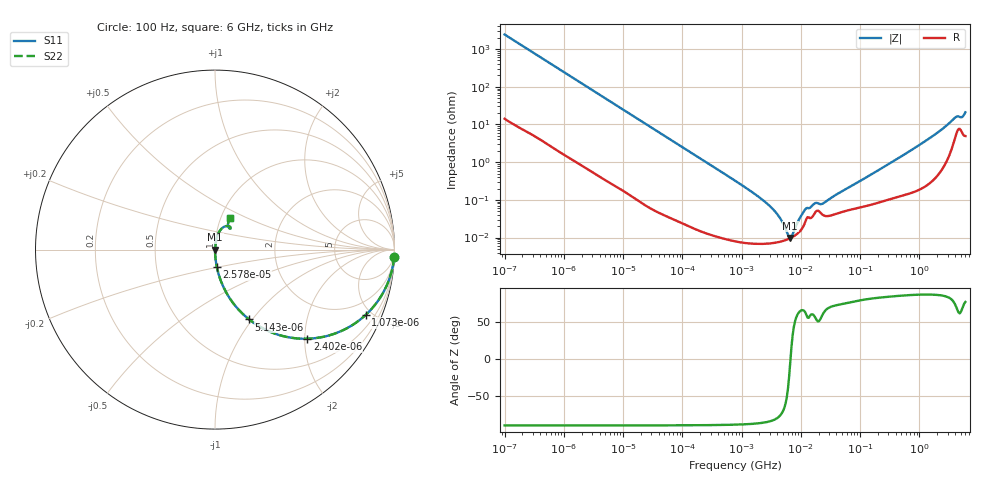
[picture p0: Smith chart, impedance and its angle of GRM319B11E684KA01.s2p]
!Murata Part Number: GRM319B11E684KA01
!These Parameters are Measured in Series Mode Connection
!Data Generated on Mar 30, 2021
!  o--ll--o
!Port1  Port2
!  o------o
!Operation Temp=25[degC], DC Bias Voltage=0[V]
!Freq. Start=100[Hz] Stop=6[GHz] 401[Steps]
# Hz S RI R 50
!Freq.(Hz) S11(Real) S11(Imag) S21(Real) S21(Imag) S12(Real) S12(Imag) S22(Real) S22(Imag)
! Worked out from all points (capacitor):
!   401 points, 100 Hz to 6 GHz, reference 50 ohm
!   read as one part in series: C = 651 nF near 109 Hz
!   lowest |Z| = 9.66 mohm at 6.644 MHz (marker M1)
!   series resonance near 6.703 MHz, so ESL is about 870 pH
!   S11 on the Smith chart (normalised r, x): 100 Hz: 1, -49; 1.073 kHz: 1.03, -4.60; 2.402 kHz: 1.01, -2.06; 5.143 kHz: 1.01, -0.97; 25.78 kHz: 1.00, -0.19; 6 GHz: 1.10, +0.41
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100  0.9981 -0.0408  0.00191 0.0408  0.00191 0.0408  0.9981 -0.0408
350  0.9792 -0.1396  0.0208 0.1396  0.0208 0.1396  0.9792 -0.1396
1073  0.8392 -0.3642  0.1608 0.3642  0.1608 0.3642  0.8392 -0.3642
2008  0.6018 -0.4863  0.3982 0.4863  0.3982 0.4863  0.6018 -0.4863
2402  0.5146 -0.4965  0.4854 0.4965  0.4854 0.4965  0.5146 -0.4965
5143  0.1905 -0.3894  0.8095 0.3894  0.8095 0.3894  0.1905 -0.3894
10066  0.0591 -0.2323  0.9409 0.2323  0.9409 0.2323  0.0591 -0.2323
25777  0.00995 -0.0959  0.99 0.0959  0.99 0.0959  0.00995 -0.0959
40335  0.00428 -0.0617  0.9957 0.0617  0.9957 0.0617  0.00428 -0.0617
774597  8.96e-05 -0.00323  0.9999 0.00323  0.9999 0.00323  8.96e-05 -0.00323
3245845  7.1e-05 -0.000602  0.9999 0.000602  0.9999 0.000602  7.1e-05 -0.000602
4440638  7.72e-05 -0.000323  0.9999 0.000323  0.9999 0.000323  7.72e-05 -0.000323
6075234  9.04e-05 -7.56e-05  0.9999 7.56e-05  0.9999 7.56e-05  9.04e-05 -7.56e-05
6644369  9.64e-05 -6.7e-06  0.9999 6.7e-06  0.9999 6.7e-06  9.64e-05 -6.7e-06
7266822  0.000104 6.28e-05  0.9999 -6.28e-05  0.9999 -6.28e-05  0.000104 6.28e-05
1.137099e7  0.000218 0.000458  0.9998 -0.000458  0.9998 -0.000458  0.000218 0.000458
1.555665e7  0.000351 0.000607  0.9996 -0.000607  0.9996 -0.000607  0.000351 0.000607
2.434276e7  0.000386 0.000726  0.9996 -0.000726  0.9996 -0.000726  0.000386 0.000726
3.124326e8  0.00111 0.00907  0.9989 -0.00907  0.9989 -0.00907  0.00111 0.00907
1.565993e9  0.00495 0.0451  0.9951 -0.0451  0.9951 -0.0451  0.00495 0.0451
4.009986e9  0.0597 0.1307  0.9403 -0.1307  0.9403 -0.1307  0.0597 0.1307
6e9  0.0818 0.1788  0.9182 -0.1788  0.9182 -0.1788  0.0818 0.1788
